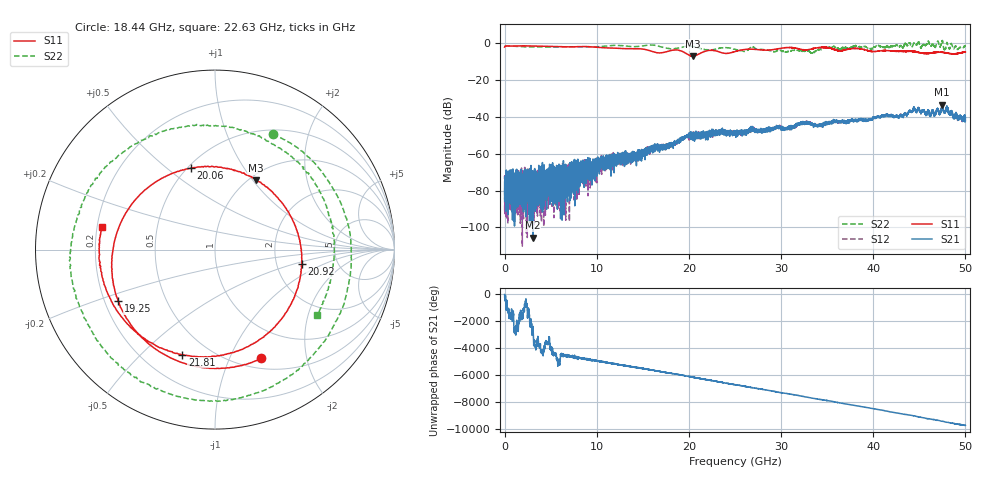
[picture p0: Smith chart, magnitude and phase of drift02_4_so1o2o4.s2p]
!Created with skrf (http://scikit-rf.org).
# Hz S RI R 50.0
!freq ReS11 ImS11 ReS21 ImS21 ReS12 ImS12 ReS22 ImS22
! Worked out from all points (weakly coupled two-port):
!   10001 points, 300 kHz to 50 GHz, reference 50 ohm
!   highest |S21| = -33.36 dB at 47.48 GHz (marker M1); lowest = -105.6 dB at 3.065 GHz (marker M2)
!   lowest |S11| = -7.0 dB at 20.4 GHz (marker M3), VSWR 2.63, Z = 53.5 + j51.8 ohm
!   |S11| at or under -10 dB: nowhere
!   |S22| runs from -5.3 to 1.6 dB; largest |S21 - S12| = 0.0035
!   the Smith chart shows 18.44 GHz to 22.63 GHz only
!   S11 on the Smith chart (normalised r, x): 18.44 GHz: 0.62, -1.32; 19.25 GHz: 0.26, -0.23; 20.06 GHz: 0.52, +0.61; 20.92 GHz: 2.77, -0.60; 21.81 GHz: 0.36, -0.67; 22.63 GHz: 0.22, +0.09
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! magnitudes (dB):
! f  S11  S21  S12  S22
! 300 kHz  -2.1  -78.7  -73.5  -1.3
! 1.19 GHz  -1.4  -74.2  -86.7  -1.6
! 3.065 GHz  -1.4  -105.6  -89.7  -2.0
! 5.835 GHz  -1.7  -85.4  -72.6  -2.0
! 8.335 GHz  -1.7  -66.4  -64.9  -1.9
! 16.67 GHz  -5.2  -56.2  -57.1  -1.5
! 18.44 GHz  -3.6  -53.9  -54.3  -2.9
! 19.25 GHz  -4.3  -51.2  -51.7  -2.2
! 20.06 GHz  -6.5  -49.7  -50.4  -1.5
! 20.4 GHz  -7.0  -49.7  -49.3  -1.7
! 20.92 GHz  -6.2  -48.6  -49.3  -2.2
! 21.81 GHz  -4.3  -49.6  -49.1  -3.5
! 22.63 GHz  -3.8  -49.6  -49.3  -3.4
! 25 GHz  -4.5  -48.6  -49.2  -3.2
! 26.11 GHz  -3.3  -48.5  -49.1  -4.4
! 26.9 GHz  -3.2  -46.1  -45.1  -1.7
! 33.34 GHz  -3.0  -43.6  -44.0  -5.2
! 34.91 GHz  -2.3  -43.1  -43.5  -2.1
! 41.67 GHz  -4.0  -38.9  -39.6  -2.1
! 44.42 GHz  -4.3  -35.7  -35.2  0.3
! 47.48 GHz  -4.9  -33.4  -33.9  1.3
! 50 GHz  -4.7  -42.0  -40.0  -1.4
